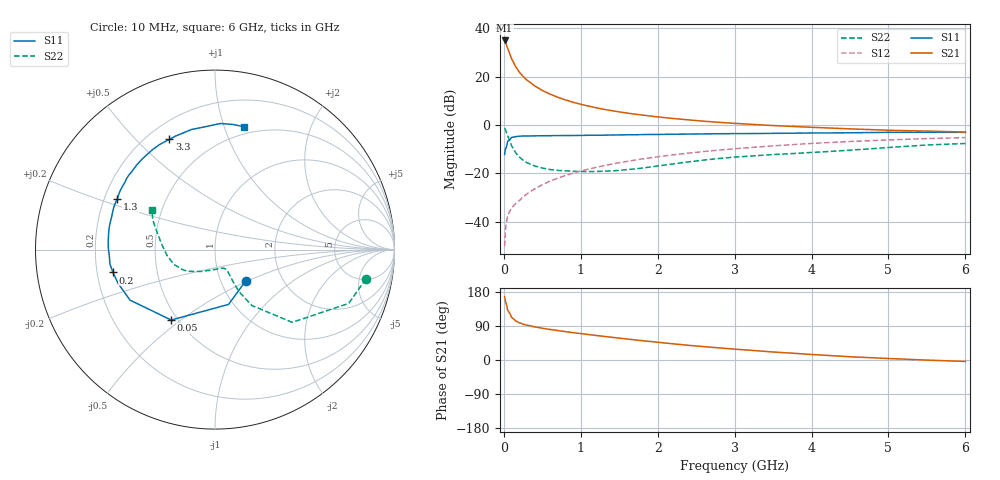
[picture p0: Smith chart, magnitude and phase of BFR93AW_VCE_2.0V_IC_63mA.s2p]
! Infineon Technologies  Discrete & RF Semiconductors
! BFR93AW
! VCE =  2.0 V,  IC =  63 mA
! Common Emitter S-Parameters:  Jan 2017
# GHz  S  MA  R  50
!  f  S11  S21  S12  S22
! GHz  MAG  ANG  MAG  ANG  MAG  ANG  MAG  ANG
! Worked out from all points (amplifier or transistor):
!   77 points, 10 MHz to 6 GHz, reference 50 ohm
!   highest |S21| = 35.0 dB at 10 MHz (marker M1)
!   |S21| within 3 dB of that: start of sweep to 46.23 MHz
!   unconditionally stable (mu >= 1): 210.1 MHz to 3.089 GHz
!   at 130 MHz: K = 0.79, MSG = 29.5 dB, |S12| = -33.3 dB
!   at 2.2 GHz: K = 1.06, MAG = 6.1 dB, |S12| = -12.4 dB
!   at 6 GHz: K = 0.98, MSG = 1.2 dB, |S12| = -5.2 dB
!   S11 on the Smith chart (normalised r, x): 10 MHz: 1.32, -0.48; 50 MHz: 0.46, -0.46; 200 MHz: 0.27, -0.10; 1.3 GHz: 0.25, +0.23; 3.3 GHz: 0.29, +0.63; 6 GHz: 0.43, +1.17
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0.01  0.2441 -45.0  55.95 167.3  0.0031 74.4  0.8567 -10.9
0.02  0.3145 -76.1  52.82 155.9  0.0064 74.8  0.8032 -21.9
0.05  0.4622 -121.9  38.18 131.1  0.0135 58.9  0.5907 -43.3
0.1  0.5507 -149.2  23.41 112.3  0.0187 57.0  0.373 -56.6
0.15  0.572 -160.9  16.36 103.7  0.0235 57.8  0.2709 -60.2
0.2  0.5825 -167.4  12.48 98.4  0.027 63.9  0.218 -60.7
0.25  0.591 -172.2  10.12 94.6  0.0325 65.5  0.186 -60.4
0.3  0.5895 -175.5  8.465 91.9  0.0373 67.8  0.1652 -60.1
0.4  0.5943 179.3  6.425 87.4  0.0473 70.1  0.1416 -59.8
0.5  0.5971 175.0  5.167 83.8  0.0578 71.0  0.1283 -60.6
0.6  0.5992 171.6  4.342 80.6  0.0689 71.9  0.1197 -62.3
0.7  0.602 168.6  3.743 77.8  0.079 72.6  0.1145 -64.6
0.9  0.6038 162.8  2.941 72.2  0.1004 72.1  0.1098 -71.2
1.1  0.6112 157.4  2.45 67.2  0.1216 71.2  0.1086 -79.3
1.3  0.6137 152.5  2.105 62.4  0.1432 69.5  0.1103 -88.5
1.6  0.6245 145.7  1.761 55.4  0.176 67.2  0.1188 -103.0
2.1  0.6383 134.9  1.412 44.8  0.2297 62.1  0.1483 -124.9
3.1  0.6621 116.0  1.054 27.2  0.3306 50.7  0.2208 -151.9
3.3  0.6647 112.5  1.011 24.3  0.3496 48.4  0.2319 -156.5
4.1  0.682 99.7  0.88 13.4  0.4217 39.0  0.2746 -176.2
5.1  0.703 86.4  0.769 3.1  0.4955 27.2  0.3492 160.6
6  0.7032 76.6  0.714 -3.8  0.5472 17.1  0.4132 147.9
